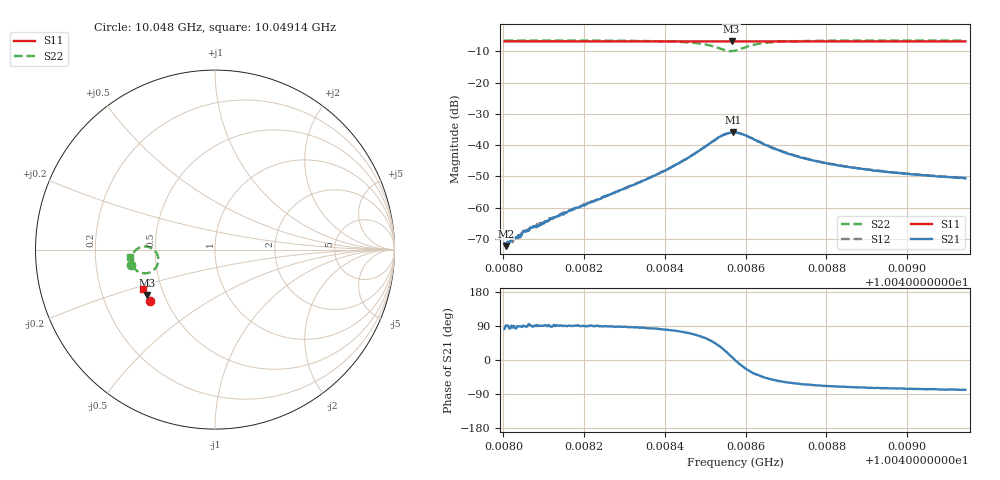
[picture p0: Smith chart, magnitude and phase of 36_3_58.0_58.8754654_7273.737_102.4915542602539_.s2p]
#  HZ  S  RI  R  50.00
! Rohde & Schwarz Vector Network Analyzer
! Rohde-Schwarz,ZNB20-2Port,1311601062101988,3.16
! Created: UTC 3/21/2024, 12:51:54 AM
! freq[Hz]  re:S11  im:S11  re:S21  im:S21  re:S12  im:S12  re:S22  im:S22
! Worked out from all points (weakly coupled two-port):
!   401 points, 10.048 GHz to 10.04914 GHz, reference 50 ohm
!   highest |S21| = -35.91 dB at 10.04857 GHz (marker M1); lowest = -72.3 dB at 10.04801 GHz (marker M2)
!   lowest |S11| = -6.8 dB at 10.04857 GHz (marker M3), VSWR 2.68, Z = 20.1 - j12.8 ohm
!   |S11| at or under -10 dB: nowhere
!   |S22| runs from -9.9 to -6.5 dB; largest |S21 - S12| = 0.0014
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1.0048003e10  -0.361 -0.2844  3.59e-05 0.000266  1.09e-05 0.000264  -0.4665 -0.0845
1.0048006e10  -0.3611 -0.2841  -6.16e-06 0.000244  2.42e-06 0.000242  -0.4666 -0.0844
1.004804e10  -0.3624 -0.2823  7.94e-06 0.000333  -1.64e-05 0.000366  -0.4668 -0.0811
1.0048052e10  -0.3629 -0.2816  5.12e-06 0.000421  -4.44e-07 0.000429  -0.4669 -0.0799
1.0048057e10  -0.3632 -0.2813  2.01e-05 0.000435  -1.76e-05 0.000418  -0.4669 -0.0794
1.0048072e10  -0.3637 -0.2806  1.57e-05 0.000472  -2.3e-05 0.000466  -0.4671 -0.078
1.0048123e10  -0.3658 -0.2778  -1.4e-06 0.00067  -4.88e-05 0.000696  -0.4674 -0.0726
1.0048194e10  -0.3686 -0.2738  9.39e-06 0.00107  -2.64e-05 0.00107  -0.4674 -0.0642
1.0048385e10  -0.3757 -0.2632  0.000483 0.00349  0.000309 0.00352  -0.4603 -0.029
1.0048454e10  -0.3781 -0.259  0.00187 0.00579  0.00151 0.00588  -0.4436 -0.00447
1.0048517e10  -0.3798 -0.2552  0.00734 0.00856  0.00684 0.00898  -0.3869 0.0176
1.0048542e10  -0.3804 -0.2536  0.0123 0.00729  0.0118 0.0081  -0.3417 -0.000428
1.0048565e10  -0.3805 -0.2528  0.0158 0.00242  0.0155 0.00356  -0.3159 -0.0502
1.0048568e10  -0.3806 -0.2528  0.0159 0.0017  0.0158 0.00277  -0.3156 -0.0575
1.0048574e10  -0.3807 -0.2525  0.0159 -2.58e-05  0.0159 0.00119  -0.317 -0.0724
1.0048605e10  -0.382 -0.2516  0.0124 -0.00608  0.0128 -0.00514  -0.3594 -0.1254
1.0048645e10  -0.384 -0.2495  0.00724 -0.00741  0.00777 -0.007  -0.412 -0.1291
1.0048696e10  -0.3861 -0.2466  0.00404 -0.00647  0.00454 -0.00626  -0.4425 -0.1119
1.0048765e10  -0.3887 -0.2426  0.00234 -0.00523  0.00269 -0.00515  -0.4579 -0.0927
1.0048848e10  -0.3913 -0.2377  0.00149 -0.00428  0.00176 -0.00422  -0.4652 -0.0768
1.0048956e10  -0.395 -0.2314  0.000953 -0.00356  0.0012 -0.00352  -0.4695 -0.0619
1.0049144e10  -0.401 -0.2205  0.000581 -0.00288  0.000759 -0.0029  -0.4727 -0.0425
